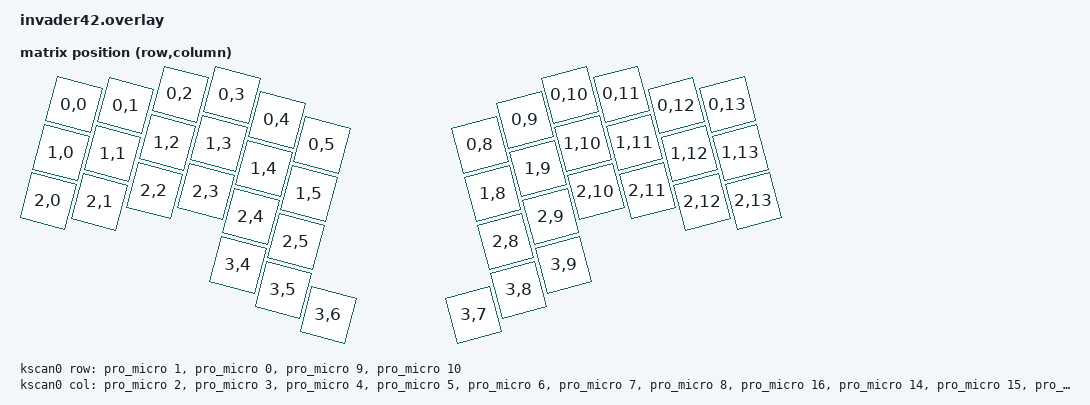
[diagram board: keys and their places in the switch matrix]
#include <dt-bindings/zmk/matrix_transform.h>
#include <physical_layouts.dtsi>

/ {
    invader42_layout: invader42_layout {
        compatible = "zmk,physical-layout";
        display-name = "invader42";

        keys  //                     w   h    x    y     rot    rx    ry
            = <&key_physical_attrs 100 100    0  100    1500   700    50>
            , <&key_physical_attrs 100 100  100   75    1500   700    50>
            , <&key_physical_attrs 100 100  200   25    1500   700    50>
            , <&key_physical_attrs 100 100  300    0    1500   700    50>
            , <&key_physical_attrs 100 100  400   25    1500   700    50>
            , <&key_physical_attrs 100 100  500   50    1500   700    50>
            , <&key_physical_attrs 100 100  800   50 (-1500)   700    50>
            , <&key_physical_attrs 100 100  900   25 (-1500)   700    50>
            , <&key_physical_attrs 100 100 1000    0 (-1500)   700    50>
            , <&key_physical_attrs 100 100 1100   25 (-1500)   700    50>
            , <&key_physical_attrs 100 100 1200   75 (-1500)   700    50>
            , <&key_physical_attrs 100 100 1300  100 (-1500)   700    50>
            , <&key_physical_attrs 100 100    0  200    1500   700    50>
            , <&key_physical_attrs 100 100  100  175    1500   700    50>
            , <&key_physical_attrs 100 100  200  125    1500   700    50>
            , <&key_physical_attrs 100 100  300  100    1500   700    50>
            , <&key_physical_attrs 100 100  400  125    1500   700    50>
            , <&key_physical_attrs 100 100  500  150    1500   700    50>
            , <&key_physical_attrs 100 100  800  150 (-1500)   700    50>
            , <&key_physical_attrs 100 100  900  125 (-1500)   700    50>
            , <&key_physical_attrs 100 100 1000  100 (-1500)   700    50>
            , <&key_physical_attrs 100 100 1100  125 (-1500)   700    50>
            , <&key_physical_attrs 100 100 1200  175 (-1500)   700    50>
            , <&key_physical_attrs 100 100 1300  200 (-1500)   700    50>
            , <&key_physical_attrs 100 100    0  300    1500   700    50>
            , <&key_physical_attrs 100 100  100  275    1500   700    50>
            , <&key_physical_attrs 100 100  200  225    1500   700    50>
            , <&key_physical_attrs 100 100  300  200    1500   700    50>
            , <&key_physical_attrs 100 100  400  225    1500   700    50>
            , <&key_physical_attrs 100 100  500  250    1500   700    50>
            , <&key_physical_attrs 100 100  800  250 (-1500)   700    50>
            , <&key_physical_attrs 100 100  900  225 (-1500)   700    50>
            , <&key_physical_attrs 100 100 1000  200 (-1500)   700    50>
            , <&key_physical_attrs 100 100 1100  225 (-1500)   700    50>
            , <&key_physical_attrs 100 100 1200  275 (-1500)   700    50>
            , <&key_physical_attrs 100 100 1300  300 (-1500)   700    50>
            , <&key_physical_attrs 100 100  400  325    1500   700    50>
            , <&key_physical_attrs 100 100  500  350    1500   700    50>
            , <&key_physical_attrs 100 100  600  375    1500   700    50>
            , <&key_physical_attrs 100 100  700  375 (-1500)   700    50>
            , <&key_physical_attrs 100 100  800  350 (-1500)   700    50>
            , <&key_physical_attrs 100 100  900  325 (-1500)   700    50>
            ;
    };

    invader42_position_map {
        compatible = "zmk,physical-layout-position-map";

        complete;

        twelve {
            physical-layout = <&invader42_layout>;
            positions
                = < 0  1  2  3  4  5  6  7  8  9 10 11>
                , <12 13 14 15 16 17 18 19 20 21 22 23>
                , <24 25 26 27 28 29 30 31 32 33 34 35>
                , <         36 37 38 39 40 41         >;
        };

    };
};

&invader42_layout {
    transform = <&default_transform>;
};

/ {
    chosen {
        zmk,kscan = &kscan0;
        zmk,physical-layout = &invader42_layout;
    };

            default_transform: keymap_transform_0 {
compatible = "zmk,matrix-transform";
        columns = <14>;
        rows = <4>;
                    map = <
            RC(0,0) RC(0,1) RC(0,2) RC(0,3) RC(0,4) RC(0,5)                  RC(0,8) RC(0,9) RC(0,10) RC(0,11) RC(0,12) RC(0,13)
            RC(1,0) RC(1,1) RC(1,2) RC(1,3) RC(1,4) RC(1,5)                  RC(1,8) RC(1,9) RC(1,10) RC(1,11) RC(1,12) RC(1,13)
            RC(2,0) RC(2,1) RC(2,2) RC(2,3) RC(2,4) RC(2,5)                  RC(2,8) RC(2,9) RC(2,10) RC(2,11) RC(2,12) RC(2,13)
                                            RC(3,4) RC(3,5) RC(3,6)  RC(3,7) RC(3,8) RC(3,9)
        >;
        };

    kscan0: kscan_0 {
        compatible = "zmk,kscan-gpio-matrix";
        diode-direction = "col2row";

        row-gpios
            = <&pro_micro 1 (GPIO_ACTIVE_HIGH | GPIO_PULL_DOWN)>
            , <&pro_micro 0 (GPIO_ACTIVE_HIGH | GPIO_PULL_DOWN)>
            , <&pro_micro 9 (GPIO_ACTIVE_HIGH | GPIO_PULL_DOWN)>
            , <&pro_micro 10 (GPIO_ACTIVE_HIGH | GPIO_PULL_DOWN)>
            ;

        col-gpios
            = <&pro_micro 2 GPIO_ACTIVE_HIGH>
            , <&pro_micro 3 GPIO_ACTIVE_HIGH>
            , <&pro_micro 4 GPIO_ACTIVE_HIGH>
            , <&pro_micro 5 GPIO_ACTIVE_HIGH>
            , <&pro_micro 6 GPIO_ACTIVE_HIGH>
            , <&pro_micro 7 GPIO_ACTIVE_HIGH>
            , <&pro_micro 8 GPIO_ACTIVE_HIGH>
            , <&pro_micro 16 GPIO_ACTIVE_HIGH>
            , <&pro_micro 14 GPIO_ACTIVE_HIGH>
            , <&pro_micro 15 GPIO_ACTIVE_HIGH>
            , <&pro_micro 18 GPIO_ACTIVE_HIGH>
            , <&pro_micro 19 GPIO_ACTIVE_HIGH>
            , <&pro_micro 20 GPIO_ACTIVE_HIGH>
            , <&pro_micro 21 GPIO_ACTIVE_HIGH>
            ;

    };


};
